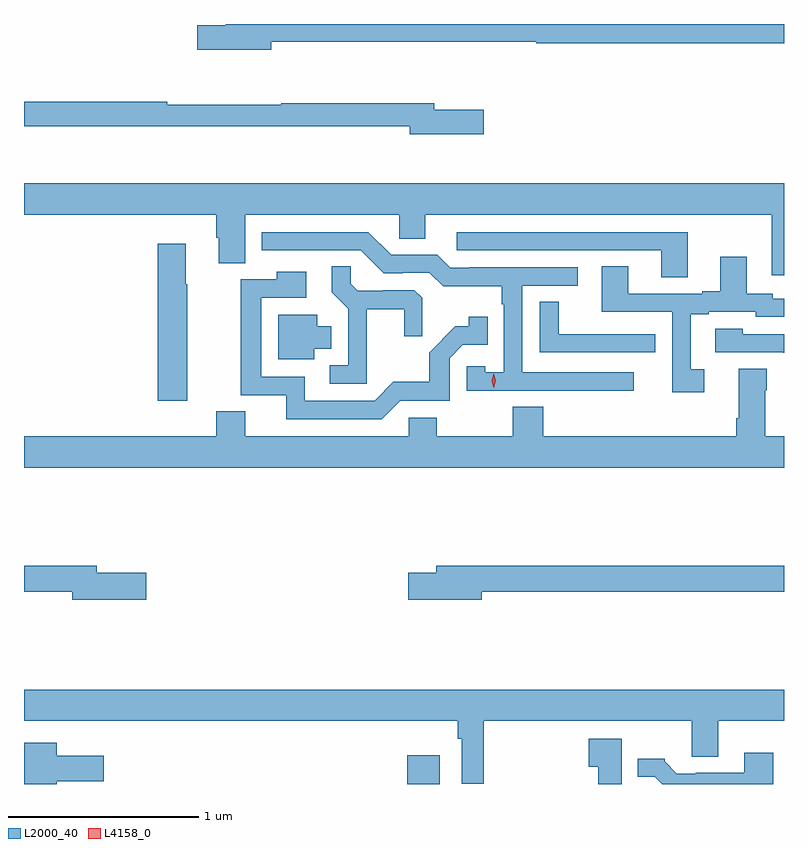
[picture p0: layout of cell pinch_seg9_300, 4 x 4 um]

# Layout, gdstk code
import gdstk
lib = gdstk.Library(unit=1e-6, precision=1e-09)
def R(c, l, rs):  # rectangles x0, y0, x1, y1
    for r in rs: c.add(gdstk.rectangle(r[:2], r[2:], *l))
def P(c, l, *ps):  # polygons
    for p in ps: c.add(gdstk.Polygon(p, *l))
L2000_40 = (2000, 40)
L4158_0 = (4158, 0)

pinch_seg9_300 = lib.new_cell('pinch_seg9_300')
R(pinch_seg9_300, L2000_40, [(397.322,1201.415,397.492,1201.567)])
P(pinch_seg9_300, L2000_40, [(396.604,1205.322),(398,1205.322),(398,1205.314),(399.304,1205.314),(399.304,1205.415),(396.365,1205.415),(396.365,1205.409),(396.216,1205.409),(396.216,1205.279),(396.604,1205.279)],
  [(397.723,1204.965),(397.462,1204.965),(397.462,1204.999),(396.658,1204.999),(396.658,1204.991),(396.058,1204.991),(396.058,1205.006),(395.304,1205.006),(395.304,1204.878),(397.334,1204.878),(397.334,1204.835),(397.723,1204.835)],
  [(399.304,1204.576),(395.304,1204.576),(395.304,1204.412),(396.317,1204.412),(396.317,1204.29),(396.329,1204.29),(396.329,1204.156),(396.469,1204.156),(396.469,1204.412),(397.278,1204.412),(397.278,1204.285),(397.417,1204.285),(397.417,1204.412),(399.239,1204.412),(399.239,1204.092),(399.304,1204.092)],
  [(398.797,1204.32),(397.581,1204.32),(397.581,1204.224),(398.657,1204.224),(398.657,1204.081),(398.797,1204.081)],
  [(398.512,1203.582),(397.926,1203.582),(397.926,1204.038),(398.218,1204.038),(398.218,1204.134),(397.648,1204.134),(397.648,1204.131),(397.548,1204.131),(397.479,1204.2),(397.236,1204.2),(397.116,1204.32),(396.554,1204.32),(396.554,1204.224),(397.077,1204.224),(397.197,1204.104),(397.298,1204.104),(397.298,1204.107),(397.437,1204.107),(397.51,1204.034),(397.818,1204.034),(397.818,1203.941),(397.83,1203.941),(397.83,1203.583),(397.731,1203.583),(397.731,1203.615),(397.635,1203.615),(397.635,1203.486),(398.119,1203.486),(398.119,1203.484),(398.512,1203.484)],
  [(396.162,1204.045),(396.154,1204.045),(396.154,1204.258),(396.008,1204.258),(396.008,1203.432),(396.162,1203.432)],
  [(398.884,1203.597),(398.812,1203.597),(398.812,1203.888),(398.908,1203.888),(398.908,1203.9),(399.156,1203.9),(399.156,1203.873),(399.304,1203.873),(399.304,1203.969),(399.246,1203.969),(399.246,1203.996),(399.109,1203.996),(399.109,1204.189),(398.969,1204.189),(398.969,1204.009),(398.873,1204.009),(398.873,1203.996),(398.485,1203.996),(398.485,1204.139),(398.345,1204.139),(398.345,1203.9),(398.715,1203.9),(398.715,1203.477),(398.884,1203.477)],
  [(397.109,1203.914),(397.306,1203.914),(397.306,1203.771),(397.4,1203.771),(397.4,1203.973),(397.359,1204.014),(397.194,1204.014),(397.194,1204.011),(397.06,1204.011),(397.023,1204.048),(397.023,1204.139),(396.925,1204.139),(396.925,1204.003),(397.011,1203.917),(397.011,1203.618),(396.912,1203.618),(396.912,1203.522),(397.109,1203.522)],
  [(397.284,1203.432),(397.545,1203.432),(397.545,1203.657),(397.614,1203.726),(397.745,1203.726),(397.745,1203.874),(397.644,1203.874),(397.644,1203.824),(397.574,1203.824),(397.437,1203.686),(397.437,1203.531),(397.248,1203.531),(397.149,1203.432),(396.781,1203.432),(396.781,1203.558),(396.552,1203.558),(396.552,1203.975),(396.79,1203.975),(396.79,1204.111),(396.634,1204.111),(396.634,1204.071),(396.444,1204.071),(396.444,1203.462),(396.683,1203.462),(396.683,1203.336),(397.188,1203.336)],
  [(398.626,1203.782),(398.513,1203.782),(398.513,1203.783),(398.118,1203.783),(398.118,1203.953),(398.019,1203.953),(398.019,1203.687),(398.626,1203.687)],
  [(396.832,1203.707),(396.922,1203.707),(396.922,1203.823),(396.847,1203.823),(396.847,1203.886),(396.641,1203.886),(396.641,1203.65),(396.832,1203.65)],
  [(399.304,1203.783),(399.087,1203.783),(399.087,1203.811),(398.943,1203.811),(398.943,1203.687),(399.301,1203.687),(399.301,1203.685),(399.304,1203.685)],
  [(399.304,1203.244),(399.205,1203.244),(399.205,1203.488),(399.213,1203.488),(399.213,1203.601),(399.065,1203.601),(399.065,1203.34),(399.053,1203.34),(399.053,1203.244),(398.036,1203.244),(398.036,1203.401),(397.876,1203.401),(397.876,1203.244),(397.476,1203.244),(397.476,1203.342),(397.329,1203.342),(397.329,1203.244),(396.469,1203.244),(396.469,1203.377),(396.317,1203.377),(396.317,1203.244),(395.304,1203.244),(395.304,1203.08),(399.304,1203.08)],
  [(397.714,1202.428),(399.304,1202.428),(399.304,1202.564),(397.475,1202.564),(397.475,1202.528),(397.326,1202.528),(397.326,1202.386),(397.714,1202.386)],
  [(395.947,1202.528),(395.686,1202.528),(395.686,1202.564),(395.304,1202.564),(395.304,1202.428),(395.558,1202.428),(395.558,1202.386),(395.947,1202.386)],
  [(395.304,1201.748),(397.588,1201.748),(397.588,1201.652),(397.608,1201.652),(397.608,1201.416),(397.724,1201.416),(397.724,1201.748),(398.819,1201.748),(398.819,1201.558),(398.959,1201.558),(398.959,1201.748),(399.304,1201.748),(399.304,1201.912),(395.304,1201.912)],
  [(398.449,1201.654),(398.276,1201.654),(398.276,1201.507),(398.327,1201.507),(398.327,1201.415),(398.449,1201.415)],
  [(395.476,1201.43),(395.725,1201.43),(395.725,1201.564),(395.476,1201.564),(395.476,1201.633),(395.304,1201.633),(395.304,1201.415),(395.476,1201.415)],
  [(399.248,1201.579),(399.095,1201.579),(399.095,1201.473),(398.839,1201.473),(398.839,1201.47),(398.74,1201.47),(398.676,1201.534),(398.676,1201.549),(398.534,1201.549),(398.534,1201.452),(398.625,1201.452),(398.662,1201.415),(399.248,1201.415)])
P(pinch_seg9_300, L4158_0, [(397.776,1203.501),(397.767,1203.537),(397.776,1203.573),(397.777,1203.573),(397.777,1203.573),(397.787,1203.537),(397.777,1203.501),(397.777,1203.501)])

lib.write_gds('pinch_seg9_300.gds')
